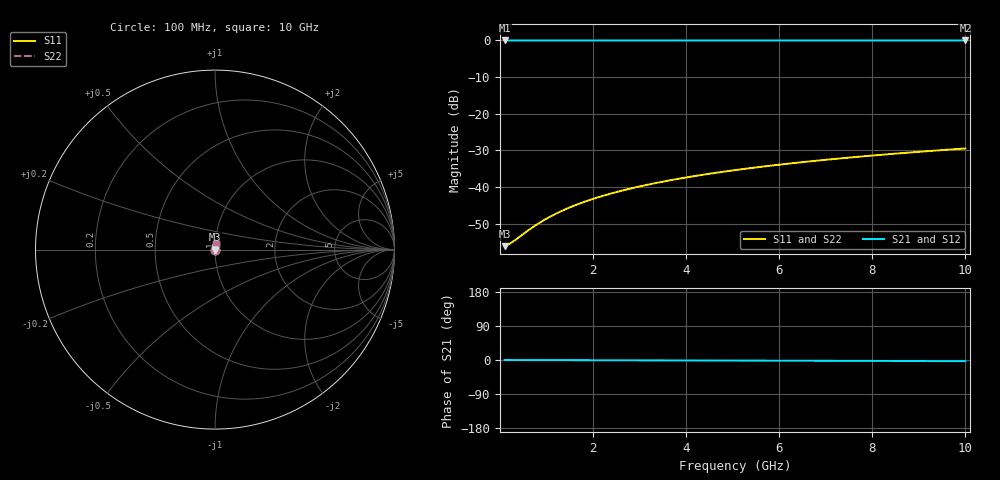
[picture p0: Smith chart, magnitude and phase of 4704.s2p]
# Hz S RI R 50.00
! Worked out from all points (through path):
!   100 points, 100 MHz to 10 GHz, reference 50 ohm
!   highest |S21| = -0.01 dB at 100 MHz (marker M1); lowest = 0.0 dB at 10 GHz (marker M2)
!   lowest |S11| = -56.1 dB at 100 MHz (marker M3), VSWR 1.00, Z = 50.2 + j0.0335 ohm
!   |S11| at or under -10 dB: start of sweep to end of sweep
!   |S22| runs from -56.1 to -29.5 dB; largest |S21 - S12| = 0
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1e8  0.00152 0.000334  0.9985 -0.000532  0.9985 -0.000532  0.00152 0.000334
2e8  0.00153 0.000668  0.9985 -0.00106  0.9985 -0.00106  0.00153 0.000668
3e8  0.00154 0.001  0.9985 -0.00159  0.9985 -0.00159  0.00154 0.001
7e8  0.00157 0.00234  0.9984 -0.00372  0.9984 -0.00372  0.00157 0.00234
8e8  0.00157 0.00267  0.9984 -0.00425  0.9984 -0.00425  0.00157 0.00267
1e9  0.00159 0.00334  0.9984 -0.00532  0.9984 -0.00532  0.00159 0.00334
1.2e9  0.0016 0.00401  0.9984 -0.00638  0.9984 -0.00638  0.0016 0.00401
1.4e9  0.00162 0.00468  0.9984 -0.00744  0.9984 -0.00744  0.00162 0.00468
1.6e9  0.00163 0.00534  0.9984 -0.0085  0.9984 -0.0085  0.00163 0.00534
1.8e9  0.00165 0.00601  0.9983 -0.00957  0.9983 -0.00957  0.00165 0.00601
2.1e9  0.00167 0.00701  0.9983 -0.0112  0.9983 -0.0112  0.00167 0.00701
2.5e9  0.00171 0.00835  0.9983 -0.0133  0.9983 -0.0133  0.00171 0.00835
2.9e9  0.00176 0.00969  0.9982 -0.0154  0.9982 -0.0154  0.00176 0.00969
3.4e9  0.00182 0.0114  0.9981 -0.0181  0.9981 -0.0181  0.00182 0.0114
3.8e9  0.00188 0.0127  0.9981 -0.0202  0.9981 -0.0202  0.00188 0.0127
4.2e9  0.00194 0.014  0.998 -0.0223  0.998 -0.0223  0.00194 0.014
5.1e9  0.0021 0.017  0.9978 -0.0271  0.9978 -0.0271  0.0021 0.017
5.9e9  0.00227 0.0197  0.9976 -0.0314  0.9976 -0.0314  0.00227 0.0197
6.7e9  0.00246 0.0224  0.9974 -0.0356  0.9974 -0.0356  0.00246 0.0224
7.5e9  0.00267 0.025  0.9972 -0.0399  0.9972 -0.0399  0.00267 0.025
8.4e9  0.00294 0.028  0.9969 -0.0447  0.9969 -0.0447  0.00294 0.028
1e10  0.00348 0.0334  0.9963 -0.0532  0.9963 -0.0532  0.00348 0.0334
